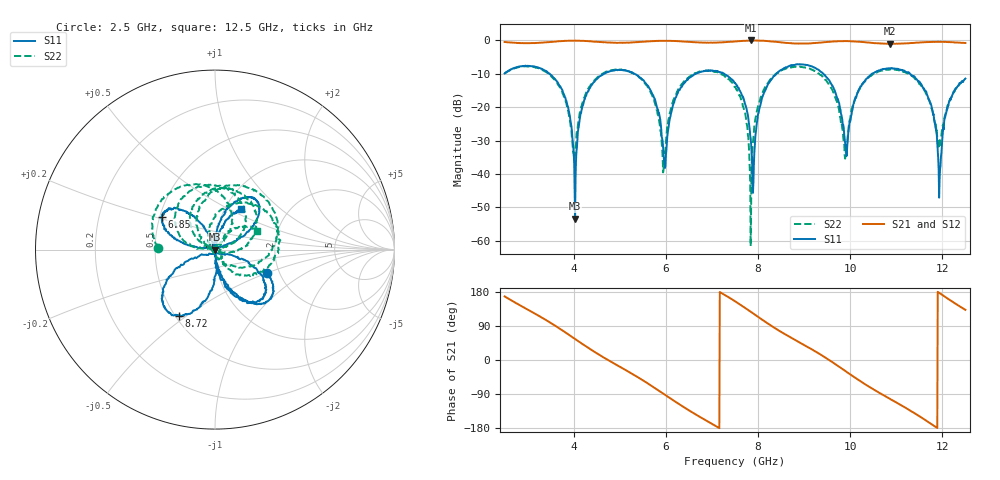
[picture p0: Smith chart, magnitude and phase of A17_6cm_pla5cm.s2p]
!Keysight Technologies N9950B: A.12.38
!Date: Monday, 17 April 2023 21:05:19
!Timezone: (UTC-06:00) Central Time (US & Canada)
!Model: N9950B
!Serial: MY61131330
!GPS Latitude:
!GPS Longitude:
!GPS TimeStamp: 0001-01-01 00:00:00Z
!GPS Seconds Since Last Read: 0
!CHECKSUM:1502505044
!Correction: S11(ON U)S21(ON U)S12(ON U)S22(ON U)
!S2P File: Measurements:S11,S21,S12,S22:
# Hz S DB R 50
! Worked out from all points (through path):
!   1001 points, 2.5 GHz to 12.5 GHz, reference 50 ohm
!   highest |S21| = -0.10 dB at 7.84 GHz (marker M1); lowest = -1.1 dB at 10.87 GHz (marker M2)
!   group delay of S21, straight-line fit = 210 ps
!   lowest |S11| = -53.4 dB at 4.03 GHz (marker M3), VSWR 1.00, Z = 49.8 + j0.0282 ohm
!   |S11| at or under -10 dB: 3.463 GHz to 4.663 GHz (1.199 GHz wide, 29.5 % of centre); 5.313 GHz to 6.659 GHz (1.347 GHz wide, 22.5 % of centre); 11.29 GHz to end of sweep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
!   |S22| runs from -61.6 to -7.8 dB; largest |S21 - S12| = 0.0072
!   S11 on the Smith chart (normalised r, x): 2.5 GHz: 1.73, -0.49; 6.85 GHz: 0.51, +0.21; 8.72 GHz: 0.52, -0.47; 12.5 GHz: 1.19, +0.57
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2.5e9  -9.97 -23.8  -0.57 167.9  -0.57 167.9  -9.97 178.1
3.62e9  -12.07 -67.4  -0.41 88.6  -0.40 88.6  -12.55 69.1
4.03e9  -53.41 172.4  -0.18 55.4  -0.17 55.4  -34.08 142.6
4.17e9  -20.90 85.2  -0.20 43.7  -0.20 43.9  -19.72 173.9
5.08e9  -8.99 47.9  -0.77 -23.3  -0.76 -23.5  -9.00 88.6
5.84e9  -21.78 23.7  -0.22 -80.2  -0.20 -80.4  -23.40 17.8
5.98e9  -38.23 92.5  -0.21 -91.8  -0.20 -91.9  -33.42 138.3
6.23e9  -16.64 170.8  -0.30 -112.0  -0.30 -112.0  -15.97 141.0
6.85e9  -9.22 148.5  -0.77 -157.9  -0.74 -158.0  -9.22 79.3
7.5e9  -12.78 123.7  -0.40 154.9  -0.38 154.9  -13.93 14.1
7.84e9  -29.26 114.1  -0.10 127.4  -0.13 127.4  -61.58 32.8
8.1e9  -16.88 -88.7  -0.19 105.6  -0.19 105.6  -15.66 127.1
8.72e9  -7.51 -118.2  -0.95 58.5  -0.91 58.5  -8.21 60.7
9.17e9  -7.82 -136.7  -0.92 27.8  -0.91 27.7  -8.80 15.2
9.9e9  -31.81 -117.6  -0.29 -29.5  -0.29 -29.4  -34.46 -168.1
1.019e10  -14.67 -19.8  -0.51 -53.4  -0.50 -53.5  -14.91 90.7
1.084e10  -8.43 -45.0  -1.07 -101.0  -1.07 -101.2  -8.87 24.3
1.087e10  -8.38 -45.4  -1.11 -103.2  -1.08 -103.1  -8.77 20.5
1.164e10  -15.26 -77.7  -0.60 -159.4  -0.59 -159.3  -15.83 -51.0
1.194e10  -41.75 74.2  -0.52 176.5  -0.51 176.4  -31.48 8.9
1.212e10  -19.73 75.4  -0.57 161.8  -0.60 161.6  -19.60 55.7
1.25e10  -11.49 57.1  -0.87 132.3  -0.88 132.2  -11.73 23.9
